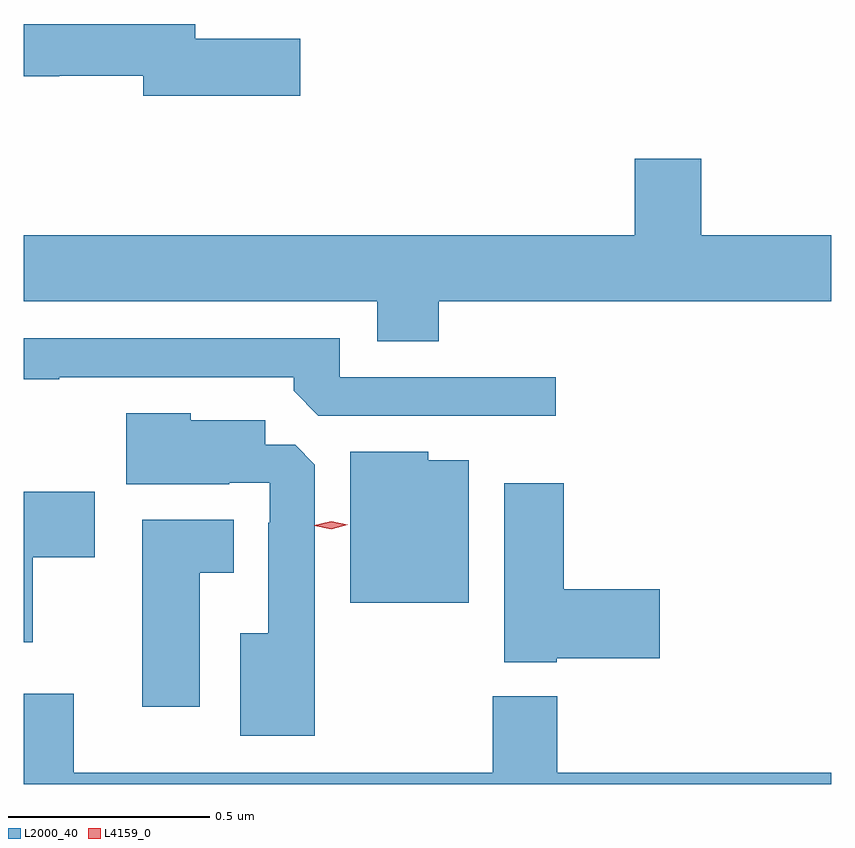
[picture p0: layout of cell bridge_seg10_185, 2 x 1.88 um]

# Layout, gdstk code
import gdstk
lib = gdstk.Library(unit=1e-6, precision=1e-09)
def P(c, l, *ps):  # polygons
    for p in ps: c.add(gdstk.Polygon(p, *l))
L2000_40 = (2000, 40)
L4159_0 = (4159, 0)

bridge_seg10_185 = lib.new_cell('bridge_seg10_185')
P(bridge_seg10_185, L2000_40, [(176.167,1299.635),(175.906,1299.635),(175.906,1299.671),(175.482,1299.671),(175.482,1299.542),(175.57,1299.542),(175.57,1299.543),(175.778,1299.543),(175.778,1299.493),(176.167,1299.493)],
  [(176.51,1298.984),(177.482,1298.984),(177.482,1299.148),(177.16,1299.148),(177.16,1299.337),(176.996,1299.337),(176.996,1299.148),(175.482,1299.148),(175.482,1298.984),(176.357,1298.984),(176.357,1298.885),(176.51,1298.885)],
  [(176.8,1298.796),(176.265,1298.796),(176.265,1298.892),(175.482,1298.892),(175.482,1298.791),(175.57,1298.791),(175.57,1298.796),(176.15,1298.796),(176.15,1298.762),(176.211,1298.7),(176.8,1298.7)],
  [(176.203,1298.579),(176.154,1298.628),(176.08,1298.628),(176.08,1298.689),(175.896,1298.689),(175.896,1298.707),(175.736,1298.707),(175.736,1298.531),(175.991,1298.531),(175.991,1298.535),(176.091,1298.535),(176.091,1298.435),(176.087,1298.435),(176.087,1298.161),(176.018,1298.161),(176.018,1297.907),(176.203,1297.907)],
  [(176.584,1298.59),(176.484,1298.59),(176.484,1298.611),(176.291,1298.611),(176.291,1298.237),(176.584,1298.237)],
  [(176.802,1298.099),(177.058,1298.099),(177.058,1298.27),(176.819,1298.27),(176.819,1298.533),(176.672,1298.533),(176.672,1298.09),(176.802,1298.09)],
  [(175.504,1298.35),(175.657,1298.35),(175.657,1298.512),(175.482,1298.512),(175.482,1298.139),(175.504,1298.139)],
  [(175.918,1298.312),(176.002,1298.312),(176.002,1298.443),(175.775,1298.443),(175.775,1297.98),(175.918,1297.98)],
  [(177.482,1297.816),(176.804,1297.816),(176.804,1298.005),(176.644,1298.005),(176.644,1297.816),(175.606,1297.816),(175.606,1298.011),(175.482,1298.011),(175.482,1297.788),(177.482,1297.788)])
P(bridge_seg10_185, L4159_0, [(176.243,1298.419),(176.202,1298.428),(176.202,1298.429),(176.202,1298.429),(176.243,1298.439),(176.284,1298.43),(176.284,1298.43),(176.284,1298.43)])

lib.write_gds('bridge_seg10_185.gds')
